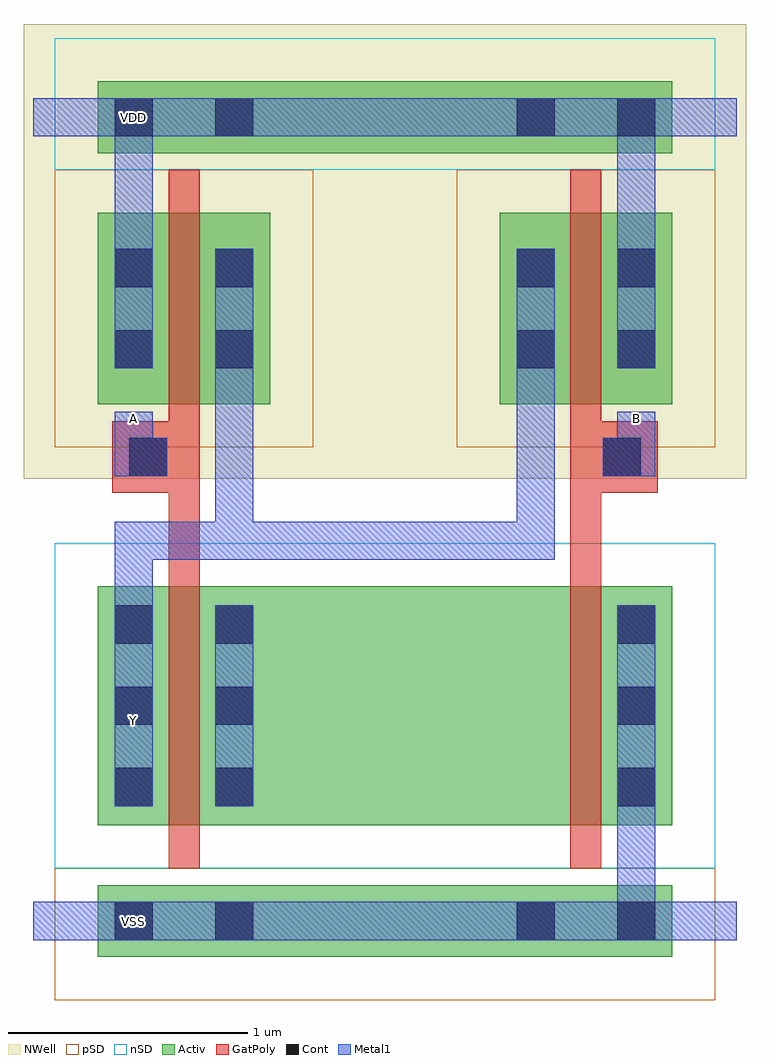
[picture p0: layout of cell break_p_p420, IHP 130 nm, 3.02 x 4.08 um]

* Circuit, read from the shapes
.subckt break_p_p420 A B VDD VSS Y
XM1 n1 A Y VSS sg13_lv_nmos w=1u l=0.13u
XM2 VSS B n1 VSS sg13_lv_nmos w=1u l=0.13u
XM3 Y A VDD VDD sg13_lv_pmos w=0.8u l=0.13u
XM4 VDD B Y VDD sg13_lv_pmos w=0.8u l=0.13u
.ends

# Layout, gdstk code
import gdstk
lib = gdstk.Library(unit=1e-6, precision=1e-09)
def R(c, l, rs):  # rectangles x0, y0, x1, y1
    for r in rs: c.add(gdstk.rectangle(r[:2], r[2:], *l))
def A(c, l, x, y, w, h, nx, ny, dx, dy):  # array of equal rectangles
    R(c, l, [(x+i*dx, y+j*dy, x+i*dx+w, y+j*dy+h) for i in range(nx) for j in range(ny)])
Activ = (1, 0)
GatPoly = (5, 0)
Cont = (6, 0)
nSD = (7, 0)
Metal1 = (8, 0)
pSD = (14, 0)
NWell = (31, 0)

break_p_p420 = lib.new_cell('break_p_p420')
R(break_p_p420, Activ, [(0.27,-0.15,2.67,0.15), (0.27,0.4,2.67,1.4), (0.27,2.16,0.99,2.96), (1.95,2.16,2.67,2.96), (0.27,3.21,2.67,3.51)])
R(break_p_p420, GatPoly, [(0.565,0.22,0.695,3.14), (2.245,0.22,2.375,3.14), (0.33,1.79,0.695,2.09), (2.245,1.79,2.61,2.09)])
A(break_p_p420, Cont, 0.34, 0.48, 0.16, 0.16, 1, 3, 0, 0.34)
A(break_p_p420, Cont, 0.76, 0.48, 0.16, 0.16, 1, 3, 0, 0.34)
A(break_p_p420, Cont, 2.44, 0.48, 0.16, 0.16, 1, 3, 0, 0.34)
R(break_p_p420, Cont, [(0.34,-0.08,0.5,0.08), (0.76,-0.08,0.92,0.08), (2.02,-0.08,2.18,0.08), (2.44,-0.08,2.6,0.08), (0.4,1.86,0.56,2.02), (2.38,1.86,2.54,2.02), (0.34,2.31,0.5,2.47), (0.76,2.31,0.92,2.47), (2.02,2.31,2.18,2.47), (2.44,2.31,2.6,2.47), (0.34,2.65,0.5,2.81), (0.76,2.65,0.92,2.81), (2.02,2.65,2.18,2.81), (2.44,2.65,2.6,2.81), (0.34,3.28,0.5,3.44), (0.76,3.28,0.92,3.44), (2.02,3.28,2.18,3.44), (2.44,3.28,2.6,3.44)])
R(break_p_p420, nSD, [(0.09,0.22,2.85,1.58), (0.09,3.14,2.85,3.69)])
R(break_p_p420, Metal1, [(0,-0.08,2.94,0.08), (0.34,-0.08,2.6,0.08), (2.44,-0.08,2.6,1.32), (0.34,0.48,0.5,1.67), (0.76,0.48,0.92,1.32), (0.34,1.51,2.18,1.67), (0.76,1.51,0.92,2.81), (2.02,1.51,2.18,2.81), (0.34,1.86,0.5,2.13), (0.34,1.86,0.56,2.02), (2.38,1.86,2.6,2.02), (2.44,1.86,2.6,2.13), (0.34,2.31,0.5,3.44), (2.44,2.31,2.6,3.44), (0,3.28,2.94,3.44), (0.34,3.28,2.6,3.44)])
R(break_p_p420, pSD, [(0.09,-0.33,2.85,0.22), (0.09,1.98,1.17,3.14), (1.77,1.98,2.85,3.14)])
R(break_p_p420, NWell, [(-0.04,1.85,1.93,3.75), (1.01,1.85,2.98,3.75)])
break_p_p420.add(gdstk.Label('VSS', (0.42,0), layer=8, texttype=25))
break_p_p420.add(gdstk.Label('Y', (0.42,0.84), layer=8, texttype=25))
break_p_p420.add(gdstk.Label('A', (0.42,2.1), layer=8, texttype=25))
break_p_p420.add(gdstk.Label('VDD', (0.42,3.36), layer=8, texttype=25))
break_p_p420.add(gdstk.Label('B', (2.52,2.1), layer=8, texttype=25))

lib.write_gds('break_p_p420.gds')
